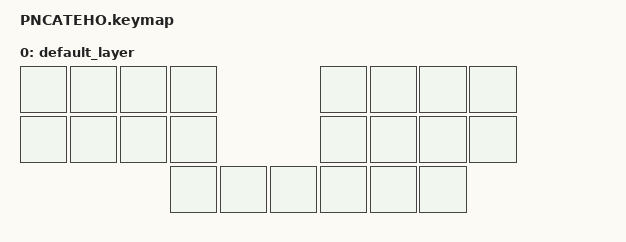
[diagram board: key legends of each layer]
/*
 * Copyright (c) 2020 The ZMK Contributors
 *
 * SPDX-License-Identifier: MIT
 */

#include <behaviors.dtsi>
#include <dt-bindings/zmk/bt.h>
#include <dt-bindings/zmk/keys.h>
#include <dt-bindings/zmk/outputs.h>
#include <dt-bindings/zmk/ext_power.h>

// CONFIG
#define COMBO_TIMEOUT 70
#define COMBO_LAYERS 0
#define STICKY_TIMEOUT 500

// LEFT SIDE
#define TLP 0 // TOP
#define TLR 1 // TOP
#define TLM 2 // TOP
#define TLI 3 // TOP
#define BLP 8 // BOTTOM
#define BLR 9 // BOTTOM
#define BLM 10 // BOTTOM
#define BLI 11 // BOTTOM
#define LOT 16 // O-THUMB
#define LIT 17 // I-THUMB

// RIGHT SIDE
#define TRP 21 // TOP
#define TRR 20 // TOP
#define TRM 19 // TOP
#define TRI 10 // TOP
#define BRP 15 // BOTTOM
#define BRR 14 // BOTTOM
#define BRM 16 // BOTTOM
#define BRI 5 // BOTTOM
#define ROT 9 // O-THUMB
#define RIT 8 // I-THUMB

&sk {
    release-after-ms = <STICKY_TIMEOUT>;
    quick-release;
};

/ {
  combos {
    compatible = "zmk,combos";
    #include "chords.dtsi"
  };

  keymap {
    compatible = "zmk,keymap";

    default_layer {
      bindings = <
        &none &none &none &none               &none &none &none &none     
        &none &none &none &none               &none &none &none &none     
                          &none &none   &none &none &none &none     
      >;
    };
  };
};
